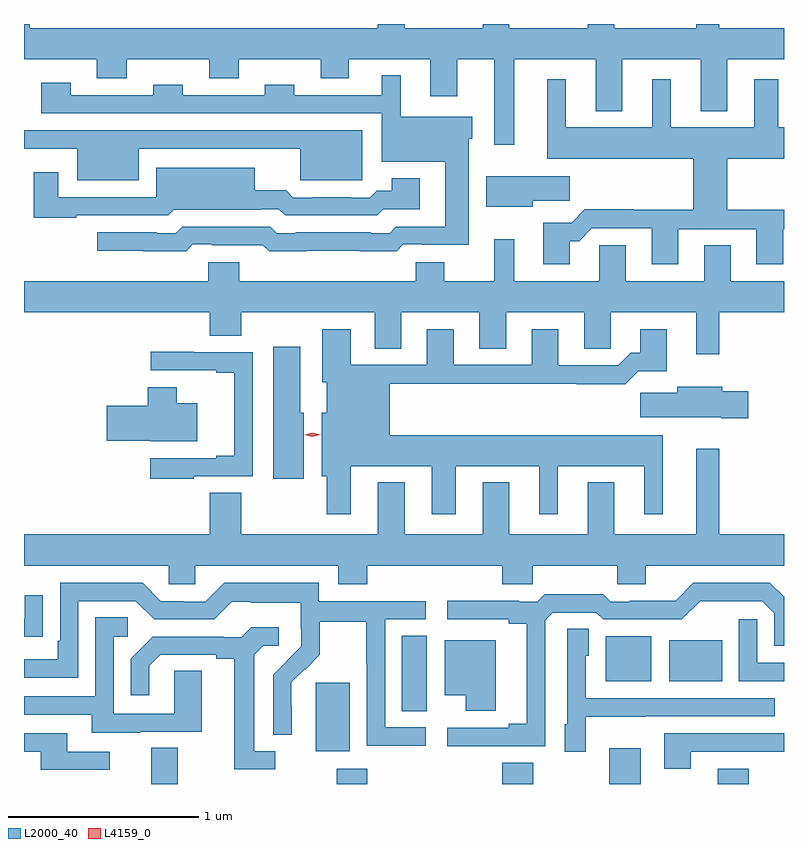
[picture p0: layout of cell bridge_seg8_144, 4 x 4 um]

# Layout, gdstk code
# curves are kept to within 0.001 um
import gdstk
lib = gdstk.Library(unit=1e-6, precision=1e-09)
def R(c, l, rs):  # rectangles x0, y0, x1, y1
    for r in rs: c.add(gdstk.rectangle(r[:2], r[2:], *l))
def P(c, l, *ps):  # polygons
    for p in ps: c.add(gdstk.Polygon(p, *l))
L2000_40 = (2000, 40)
L4159_0 = (4159, 0)

bridge_seg8_144 = lib.new_cell('bridge_seg8_144')
R(bridge_seg8_144, L2000_40, [(423.551,1147.318,423.691,1147.508), (424.528,1147.318,424.688,1147.399), (425.399,1147.318,425.563,1147.429), (425.963,1147.318,426.127,1147.507), (426.533,1147.318,426.697,1147.399), (424.418,1147.49,424.597,1147.851), (424.871,1147.702,425.002,1148.099), (425.945,1147.859,426.184,1148.095), (426.278,1147.859,426.556,1148.074)])
P(bridge_seg8_144, L2000_40, [(425.461,1151.132),(425.891,1151.132),(425.891,1150.859),(426.031,1150.859),(426.031,1151.132),(426.443,1151.132),(426.443,1150.859),(426.583,1150.859),(426.583,1151.132),(426.882,1151.132),(426.882,1151.296),(426.541,1151.296),(426.541,1151.318),(426.419,1151.318),(426.419,1151.296),(425.989,1151.296),(425.989,1151.318),(425.849,1151.318),(425.849,1151.296),(425.437,1151.296),(425.437,1151.318),(425.297,1151.318),(425.297,1151.296),(424.885,1151.296),(424.885,1151.318),(424.745,1151.318),(424.745,1151.296),(422.912,1151.296),(422.912,1151.318),(422.882,1151.318),(422.882,1151.132),(423.265,1151.132),(423.265,1151.033),(423.423,1151.033),(423.423,1151.132),(423.856,1151.132),(423.856,1151.033),(424.011,1151.033),(424.011,1151.132),(424.444,1151.132),(424.444,1151.033),(424.591,1151.033),(424.591,1151.132),(425.021,1151.132),(425.021,1150.938),(425.161,1150.938),(425.161,1151.132),(425.357,1151.132),(425.357,1150.683),(425.461,1150.683)],
  [(423.771,1150.158),(423.871,1150.158),(423.871,1150.154),(424.139,1150.154),(424.172,1150.122),(424.37,1150.122),(424.37,1150.124),(424.648,1150.124),(424.648,1150.122),(424.843,1150.122),(424.879,1150.158),(424.978,1150.158),(424.978,1150.155),(425.224,1150.155),(425.224,1150.713),(425.242,1150.713),(425.242,1150.831),(424.864,1150.831),(424.864,1151.047),(424.766,1151.047),(424.766,1150.944),(424.305,1150.944),(424.305,1150.999),(424.15,1150.999),(424.15,1150.944),(423.717,1150.944),(423.717,1150.999),(423.562,1150.999),(423.562,1150.944),(423.129,1150.944),(423.129,1151.008),(422.973,1151.008),(422.973,1150.848),(424.766,1150.848),(424.766,1150.592),(425.099,1150.592),(425.099,1150.251),(424.839,1150.251),(424.806,1150.218),(424.706,1150.218),(424.706,1150.221),(424.312,1150.221),(424.312,1150.218),(424.212,1150.218),(424.179,1150.251),(423.714,1150.251),(423.681,1150.218),(423.581,1150.218),(423.581,1150.221),(423.267,1150.221),(423.267,1150.124),(423.51,1150.124),(423.51,1150.122),(423.735,1150.122)],
  [(425.755,1150.175),(425.804,1150.175),(425.871,1150.242),(426.185,1150.242),(426.185,1150.053),(426.325,1150.053),(426.325,1150.239),(426.737,1150.239),(426.737,1150.053),(426.877,1150.053),(426.877,1150.239),(426.882,1150.239),(426.882,1150.34),(426.582,1150.34),(426.582,1150.61),(426.882,1150.61),(426.882,1150.774),(426.853,1150.774),(426.853,1151.026),(426.725,1151.026),(426.725,1150.774),(426.286,1150.774),(426.286,1151.026),(426.188,1151.026),(426.188,1150.774),(425.734,1150.774),(425.734,1151.026),(425.636,1151.026),(425.636,1150.61),(426.404,1150.61),(426.404,1150.34),(426.089,1150.34),(426.089,1150.343),(425.834,1150.343),(425.764,1150.273),(425.615,1150.273),(425.615,1150.053),(425.755,1150.053)],
  [(423.487,1150.662),(424.337,1150.662),(424.337,1150.496),(424.663,1150.496),(424.663,1150.759),(424.441,1150.759),(424.441,1150.758),(422.882,1150.758),(422.882,1150.662),(423.161,1150.662),(423.161,1150.496),(423.487,1150.496)],
  [(423.157,1150.311),(423.64,1150.311),(423.669,1150.34),(424.127,1150.34),(424.127,1150.344),(424.223,1150.344),(424.256,1150.311),(424.74,1150.311),(424.773,1150.344),(424.966,1150.344),(424.966,1150.507),(424.817,1150.507),(424.817,1150.441),(424.738,1150.441),(424.701,1150.404),(424.601,1150.404),(424.601,1150.407),(424.399,1150.407),(424.399,1150.404),(424.299,1150.404),(424.261,1150.442),(424.096,1150.442),(424.096,1150.561),(423.579,1150.561),(423.579,1150.407),(423.061,1150.407),(423.061,1150.537),(422.933,1150.537),(422.933,1150.299),(423.157,1150.299)],
  [(425.56,1150.387),(425.755,1150.387),(425.755,1150.516),(425.316,1150.516),(425.316,1150.355),(425.56,1150.355)],
  [(425.91,1150.154),(425.91,1149.964),(425.461,1149.964),(425.461,1150.186),(425.357,1150.186),(425.357,1149.964),(425.095,1149.964),(425.095,1150.063),(424.943,1150.063),(424.943,1149.964),(424.016,1149.964),(424.016,1150.063),(423.851,1150.063),(423.851,1149.964),(422.882,1149.964),(422.882,1149.8),(423.86,1149.8),(423.86,1149.676),(424.026,1149.676),(424.026,1149.8),(424.727,1149.8),(424.727,1149.61),(424.867,1149.61),(424.867,1149.8),(425.279,1149.8),(425.279,1149.61),(425.419,1149.61),(425.419,1149.8),(425.831,1149.8),(425.831,1149.61),(425.97,1149.61),(425.97,1149.8),(426.419,1149.8),(426.419,1149.579),(426.541,1149.579),(426.541,1149.8),(426.882,1149.8),(426.882,1149.964),(426.601,1149.964),(426.601,1150.154),(426.461,1150.154),(426.461,1149.964),(426.049,1149.964),(426.049,1150.154)],
  [(424.603,1148.99),(425.027,1148.99),(425.027,1148.739),(425.155,1148.739),(425.155,1148.99),(425.594,1148.99),(425.594,1148.739),(425.692,1148.739),(425.692,1148.99),(426.146,1148.99),(426.146,1148.739),(426.244,1148.739),(426.244,1149.154),(424.807,1149.154),(424.807,1149.424),(425.791,1149.424),(425.791,1149.422),(426.047,1149.422),(426.116,1149.491),(426.265,1149.491),(426.265,1149.712),(426.125,1149.712),(426.125,1149.589),(426.076,1149.589),(426.009,1149.522),(425.695,1149.522),(425.695,1149.712),(425.555,1149.712),(425.555,1149.525),(425.143,1149.525),(425.143,1149.712),(425.003,1149.712),(425.003,1149.525),(424.603,1149.525),(424.603,1149.712),(424.451,1149.712),(424.451,1149.432),(424.475,1149.432),(424.475,1149.273),(424.448,1149.273),(424.448,1148.937),(424.475,1148.937),(424.475,1148.739),(424.603,1148.739)],
  [(424.354,1149.273),(424.336,1149.273),(424.336,1149.619),(424.193,1149.619),(424.193,1148.925),(424.354,1148.925)],
  [(423.776,1148.937),(424.086,1148.937),(424.086,1149.591),(423.776,1149.591),(423.776,1149.593),(423.549,1149.593),(423.549,1149.495),(423.893,1149.495),(423.893,1149.483),(423.989,1149.483),(423.989,1149.046),(423.893,1149.046),(423.893,1149.033),(423.546,1149.033),(423.546,1148.925),(423.776,1148.925)],
  [(426.694,1149.384),(426.556,1149.384),(426.556,1149.409),(426.32,1149.409),(426.32,1149.377),(426.126,1149.377),(426.126,1149.248),(426.552,1149.248),(426.552,1149.242),(426.694,1149.242)],
  [(423.793,1149.322),(423.687,1149.322),(423.687,1149.406),(423.533,1149.406),(423.533,1149.308),(423.318,1149.308),(423.318,1149.125),(423.549,1149.125),(423.549,1149.122),(423.793,1149.122)],
  [(424.688,1148.468),(425.399,1148.468),(425.399,1148.37),(425.559,1148.37),(425.559,1148.468),(426.004,1148.468),(426.004,1148.37),(426.154,1148.37),(426.154,1148.468),(426.882,1148.468),(426.882,1148.632),(426.541,1148.632),(426.541,1149.082),(426.419,1149.082),(426.419,1148.632),(425.989,1148.632),(425.989,1148.905),(425.849,1148.905),(425.849,1148.632),(425.437,1148.632),(425.437,1148.905),(425.297,1148.905),(425.297,1148.632),(424.885,1148.632),(424.885,1148.905),(424.745,1148.905),(424.745,1148.632),(424.026,1148.632),(424.026,1148.852),(423.86,1148.852),(423.86,1148.632),(422.882,1148.632),(422.882,1148.468),(423.645,1148.468),(423.645,1148.37),(423.783,1148.37),(423.783,1148.468),(424.535,1148.468),(424.535,1148.369),(424.688,1148.369)],
  [(424.996,1147.617),(424.782,1147.617),(424.782,1148.184),(424.996,1148.184),(424.996,1148.28),(424.434,1148.28),(424.434,1148.377),(423.937,1148.377),(423.837,1148.277),(423.722,1148.277),(423.722,1148.28),(423.603,1148.28),(423.507,1148.376),(423.072,1148.376),(423.072,1148.071),(423.059,1148.071),(423.059,1147.974),(422.882,1147.974),(422.882,1147.878),(423.168,1147.878),(423.168,1148.28),(423.471,1148.28),(423.567,1148.184),(423.882,1148.184),(423.975,1148.277),(424.075,1148.277),(424.075,1148.273),(424.338,1148.273),(424.338,1148.139),(424.34,1148.139),(424.34,1148.042),(424.194,1147.894),(424.194,1147.576),(424.29,1147.576),(424.289,1147.853),(424.359,1147.923),(424.362,1147.92),(424.439,1147.997),(424.439,1148.172),(424.684,1148.172),(424.684,1147.948),(424.686,1147.948),(424.686,1147.519),(424.996,1147.519)],
  [(425.625,1148.181),(425.664,1148.22),(425.895,1148.22),(425.931,1148.184),(426.345,1148.184),(426.44,1148.279),(426.768,1148.28),(426.831,1148.217),(426.831,1148.046),(426.882,1148.046),(426.882,1148.303),(426.808,1148.376),(426.405,1148.376),(426.311,1148.282),(426.07,1148.282),(426.07,1148.277),(425.97,1148.277),(425.931,1148.317),(425.623,1148.317),(425.583,1148.277),(425.489,1148.277),(425.489,1148.282),(425.109,1148.282),(425.109,1148.184),(425.432,1148.184),(425.432,1148.162),(425.528,1148.162),(425.528,1147.634),(425.432,1147.634),(425.432,1147.614),(425.109,1147.614),(425.109,1147.518),(425.625,1147.518)],
  [(422.981,1148.311),(422.885,1148.311),(422.885,1148.187),(422.882,1148.187),(422.882,1148.092),(422.981,1148.092)],
  [(423.493,1147.593),(423.817,1147.593),(423.817,1147.913),(423.672,1147.913),(423.672,1147.689),(423.354,1147.689),(423.354,1148.094),(423.427,1148.094),(423.427,1148.195),(423.258,1148.195),(423.258,1147.779),(422.882,1147.779),(422.882,1147.683),(423.239,1147.683),(423.239,1147.589),(423.493,1147.589)],
  [(426.882,1147.956),(426.741,1147.956),(426.741,1148.185),(426.645,1148.185),(426.645,1147.86),(426.882,1147.86)],
  [(424.204,1147.491),(424.093,1147.491),(424.093,1147.999),(424.14,1148.046),(424.222,1148.046),(424.222,1148.143),(424.078,1148.143),(424.026,1148.091),(423.932,1148.091),(423.932,1148.094),(423.56,1148.094),(423.444,1147.978),(423.444,1147.785),(423.541,1147.785),(423.541,1147.941),(423.598,1147.998),(423.893,1147.998),(423.893,1147.976),(423.989,1147.976),(423.989,1147.395),(424.204,1147.395)],
  [(425.838,1147.673),(426.155,1147.673),(426.155,1147.674),(426.833,1147.674),(426.833,1147.77),(425.838,1147.77),(425.838,1147.992),(425.854,1147.992),(425.854,1148.135),(425.742,1148.135),(425.742,1147.632),(425.729,1147.632),(425.729,1147.488),(425.838,1147.488)],
  [(425.365,1148.074),(425.096,1148.074),(425.096,1147.784),(425.207,1147.784),(425.207,1147.704),(425.365,1147.704)],
  [(426.391,1147.488),(426.821,1147.488),(426.821,1147.487),(426.882,1147.487),(426.882,1147.584),(426.251,1147.584),(426.251,1147.398),(426.391,1147.398)],
  [(423.334,1147.488),(423.109,1147.488),(423.109,1147.584),(422.882,1147.584),(422.882,1147.488),(422.969,1147.488),(422.969,1147.392),(423.334,1147.392)])
P(bridge_seg8_144, L4159_0, [(424.4,1149.146),(424.359,1149.155),(424.359,1149.156),(424.359,1149.156),(424.4,1149.166),(424.441,1149.156),(424.441,1149.156),(424.441,1149.155)])

lib.write_gds('bridge_seg8_144.gds')
